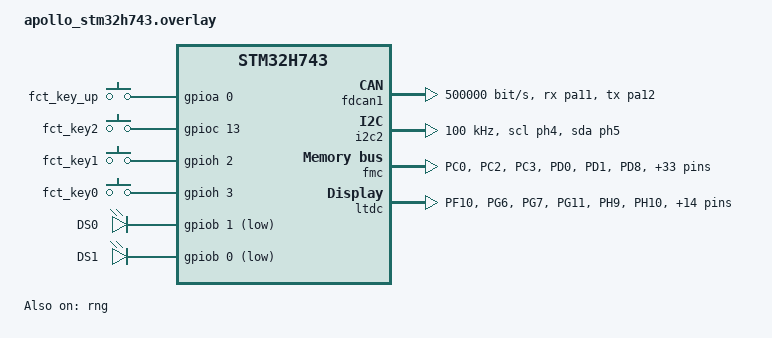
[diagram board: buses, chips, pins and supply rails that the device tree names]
#include <zephyr/dt-bindings/display/panel.h>
#include <zephyr/dt-bindings/memory-attr/memory-attr-arm.h>
/* Apollo V1 wiring is defined by docs/hardware.md. */
/ {
    chosen {
        /delete-property/ zephyr,code-partition;
    };

    /* Input polarity is not assumed by the raw-level key test. */
    fct_keys {
        compatible = "gpio-keys";
        fct_key_up: key_up { gpios = <&gpioa 0 GPIO_ACTIVE_HIGH>; };
        fct_key2: key2 { gpios = <&gpioc 13 GPIO_ACTIVE_HIGH>; };
        fct_key1: key1 { gpios = <&gpioh 2 GPIO_ACTIVE_HIGH>; };
        fct_key0: key0 { gpios = <&gpioh 3 GPIO_ACTIVE_HIGH>; };
    };
};

&flash0 {
    /delete-node/ partitions;
};

&red_led {
    gpios = <&gpiob 1 GPIO_ACTIVE_LOW>;
    label = "DS0";
};

&green_led {
    gpios = <&gpiob 0 GPIO_ACTIVE_LOW>;
    label = "DS1";
};

/* SDRAM bank 1; the inherited node label is historical. */
&sdram2 {
    compatible = "zephyr,memory-region", "mmio-sram";
    zephyr,memory-region = "SDRAM1";
    zephyr,memory-attr = <DT_MEM_ARM_MPU_RAM>;
    status = "okay";
};

/* hardware.md: PA11 RX / PA12 TX, selected by P10 instead of USB. */
&fdcan1 {
    pinctrl-0 = <&fdcan1_rx_pa11 &fdcan1_tx_pa12>;
    pinctrl-names = "default";
    clocks = <&rcc STM32_CLOCK(APB1_2, 8)>,
             <&rcc STM32_SRC_HSE FDCAN_SEL(0)>;
    clk-divider = <1>;
    bitrate = <500000>;
    status = "okay";
};

/* Verified against stm32h743iitx-pinctrl.dtsi. */
&pinctrl {
    fct_i2c2_scl_ph4: fct_i2c2_scl_ph4 {
        pinmux = <STM32_PINMUX('H', 4, AF4)>;
        bias-pull-up;
        drive-open-drain;
    };
    fct_i2c2_sda_ph5: fct_i2c2_sda_ph5 {
        pinmux = <STM32_PINMUX('H', 5, AF4)>;
        bias-pull-up;
        drive-open-drain;
    };
};

&i2c2 {
    pinctrl-0 = <&fct_i2c2_scl_ph4 &fct_i2c2_sda_ph5>;
    pinctrl-names = "default";
    clock-frequency = <100000>;
    status = "okay";
};

/* Internal RNG for lwIP random numbers; no additional board pins are used. */
&clk_hsi48 {
    status = "okay";
};

&rng {
    status = "okay";
};

&pinctrl {
    apollo_lcd_0: apollo_lcd_0 { pinmux = <STM32_PINMUX('F', 10, AF14)>; slew-rate = "very-high-speed"; };
    apollo_lcd_1: apollo_lcd_1 { pinmux = <STM32_PINMUX('G', 6, AF14)>; slew-rate = "very-high-speed"; };
    apollo_lcd_2: apollo_lcd_2 { pinmux = <STM32_PINMUX('G', 7, AF14)>; slew-rate = "very-high-speed"; };
    apollo_lcd_3: apollo_lcd_3 { pinmux = <STM32_PINMUX('G', 11, AF14)>; slew-rate = "very-high-speed"; };
    apollo_lcd_4: apollo_lcd_4 { pinmux = <STM32_PINMUX('H', 9, AF14)>; slew-rate = "very-high-speed"; };
    apollo_lcd_5: apollo_lcd_5 { pinmux = <STM32_PINMUX('H', 10, AF14)>; slew-rate = "very-high-speed"; };
    apollo_lcd_6: apollo_lcd_6 { pinmux = <STM32_PINMUX('H', 11, AF14)>; slew-rate = "very-high-speed"; };
    apollo_lcd_7: apollo_lcd_7 { pinmux = <STM32_PINMUX('H', 12, AF14)>; slew-rate = "very-high-speed"; };
    apollo_lcd_8: apollo_lcd_8 { pinmux = <STM32_PINMUX('H', 13, AF14)>; slew-rate = "very-high-speed"; };
    apollo_lcd_9: apollo_lcd_9 { pinmux = <STM32_PINMUX('H', 14, AF14)>; slew-rate = "very-high-speed"; };
    apollo_lcd_10: apollo_lcd_10 { pinmux = <STM32_PINMUX('H', 15, AF14)>; slew-rate = "very-high-speed"; };
    apollo_lcd_11: apollo_lcd_11 { pinmux = <STM32_PINMUX('I', 0, AF14)>; slew-rate = "very-high-speed"; };
    apollo_lcd_12: apollo_lcd_12 { pinmux = <STM32_PINMUX('I', 1, AF14)>; slew-rate = "very-high-speed"; };
    apollo_lcd_13: apollo_lcd_13 { pinmux = <STM32_PINMUX('I', 2, AF14)>; slew-rate = "very-high-speed"; };
    apollo_lcd_14: apollo_lcd_14 { pinmux = <STM32_PINMUX('I', 4, AF14)>; slew-rate = "very-high-speed"; };
    apollo_lcd_15: apollo_lcd_15 { pinmux = <STM32_PINMUX('I', 5, AF14)>; slew-rate = "very-high-speed"; };
    apollo_lcd_16: apollo_lcd_16 { pinmux = <STM32_PINMUX('I', 6, AF14)>; slew-rate = "very-high-speed"; };
    apollo_lcd_17: apollo_lcd_17 { pinmux = <STM32_PINMUX('I', 7, AF14)>; slew-rate = "very-high-speed"; };
    apollo_lcd_18: apollo_lcd_18 { pinmux = <STM32_PINMUX('I', 9, AF14)>; slew-rate = "very-high-speed"; };
    apollo_lcd_19: apollo_lcd_19 { pinmux = <STM32_PINMUX('I', 10, AF14)>; slew-rate = "very-high-speed"; };
};

&pinctrl {
    apollo_sdram_0: apollo_sdram_0 { pinmux = <STM32_PINMUX('C', 0, AF12)>; slew-rate = "very-high-speed"; };
    apollo_sdram_1: apollo_sdram_1 { pinmux = <STM32_PINMUX('C', 2, AF12)>; slew-rate = "very-high-speed"; };
    apollo_sdram_2: apollo_sdram_2 { pinmux = <STM32_PINMUX('C', 3, AF12)>; slew-rate = "very-high-speed"; };
    apollo_sdram_3: apollo_sdram_3 { pinmux = <STM32_PINMUX('D', 0, AF12)>; slew-rate = "very-high-speed"; };
    apollo_sdram_4: apollo_sdram_4 { pinmux = <STM32_PINMUX('D', 1, AF12)>; slew-rate = "very-high-speed"; };
    apollo_sdram_5: apollo_sdram_5 { pinmux = <STM32_PINMUX('D', 8, AF12)>; slew-rate = "very-high-speed"; };
    apollo_sdram_6: apollo_sdram_6 { pinmux = <STM32_PINMUX('D', 9, AF12)>; slew-rate = "very-high-speed"; };
    apollo_sdram_7: apollo_sdram_7 { pinmux = <STM32_PINMUX('D', 10, AF12)>; slew-rate = "very-high-speed"; };
    apollo_sdram_8: apollo_sdram_8 { pinmux = <STM32_PINMUX('D', 14, AF12)>; slew-rate = "very-high-speed"; };
    apollo_sdram_9: apollo_sdram_9 { pinmux = <STM32_PINMUX('D', 15, AF12)>; slew-rate = "very-high-speed"; };
    apollo_sdram_10: apollo_sdram_10 { pinmux = <STM32_PINMUX('E', 0, AF12)>; slew-rate = "very-high-speed"; };
    apollo_sdram_11: apollo_sdram_11 { pinmux = <STM32_PINMUX('E', 1, AF12)>; slew-rate = "very-high-speed"; };
    apollo_sdram_12: apollo_sdram_12 { pinmux = <STM32_PINMUX('E', 7, AF12)>; slew-rate = "very-high-speed"; };
    apollo_sdram_13: apollo_sdram_13 { pinmux = <STM32_PINMUX('E', 8, AF12)>; slew-rate = "very-high-speed"; };
    apollo_sdram_14: apollo_sdram_14 { pinmux = <STM32_PINMUX('E', 9, AF12)>; slew-rate = "very-high-speed"; };
    apollo_sdram_15: apollo_sdram_15 { pinmux = <STM32_PINMUX('E', 10, AF12)>; slew-rate = "very-high-speed"; };
    apollo_sdram_16: apollo_sdram_16 { pinmux = <STM32_PINMUX('E', 11, AF12)>; slew-rate = "very-high-speed"; };
    apollo_sdram_17: apollo_sdram_17 { pinmux = <STM32_PINMUX('E', 12, AF12)>; slew-rate = "very-high-speed"; };
    apollo_sdram_18: apollo_sdram_18 { pinmux = <STM32_PINMUX('E', 13, AF12)>; slew-rate = "very-high-speed"; };
    apollo_sdram_19: apollo_sdram_19 { pinmux = <STM32_PINMUX('E', 14, AF12)>; slew-rate = "very-high-speed"; };
    apollo_sdram_20: apollo_sdram_20 { pinmux = <STM32_PINMUX('E', 15, AF12)>; slew-rate = "very-high-speed"; };
    apollo_sdram_21: apollo_sdram_21 { pinmux = <STM32_PINMUX('F', 0, AF12)>; slew-rate = "very-high-speed"; };
    apollo_sdram_22: apollo_sdram_22 { pinmux = <STM32_PINMUX('F', 1, AF12)>; slew-rate = "very-high-speed"; };
    apollo_sdram_23: apollo_sdram_23 { pinmux = <STM32_PINMUX('F', 2, AF12)>; slew-rate = "very-high-speed"; };
    apollo_sdram_24: apollo_sdram_24 { pinmux = <STM32_PINMUX('F', 3, AF12)>; slew-rate = "very-high-speed"; };
    apollo_sdram_25: apollo_sdram_25 { pinmux = <STM32_PINMUX('F', 4, AF12)>; slew-rate = "very-high-speed"; };
    apollo_sdram_26: apollo_sdram_26 { pinmux = <STM32_PINMUX('F', 5, AF12)>; slew-rate = "very-high-speed"; };
    apollo_sdram_27: apollo_sdram_27 { pinmux = <STM32_PINMUX('F', 11, AF12)>; slew-rate = "very-high-speed"; };
    apollo_sdram_28: apollo_sdram_28 { pinmux = <STM32_PINMUX('F', 12, AF12)>; slew-rate = "very-high-speed"; };
    apollo_sdram_29: apollo_sdram_29 { pinmux = <STM32_PINMUX('F', 13, AF12)>; slew-rate = "very-high-speed"; };
    apollo_sdram_30: apollo_sdram_30 { pinmux = <STM32_PINMUX('F', 14, AF12)>; slew-rate = "very-high-speed"; };
    apollo_sdram_31: apollo_sdram_31 { pinmux = <STM32_PINMUX('F', 15, AF12)>; slew-rate = "very-high-speed"; };
    apollo_sdram_32: apollo_sdram_32 { pinmux = <STM32_PINMUX('G', 0, AF12)>; slew-rate = "very-high-speed"; };
    apollo_sdram_33: apollo_sdram_33 { pinmux = <STM32_PINMUX('G', 1, AF12)>; slew-rate = "very-high-speed"; };
    apollo_sdram_34: apollo_sdram_34 { pinmux = <STM32_PINMUX('G', 2, AF12)>; slew-rate = "very-high-speed"; };
    apollo_sdram_35: apollo_sdram_35 { pinmux = <STM32_PINMUX('G', 4, AF12)>; slew-rate = "very-high-speed"; };
    apollo_sdram_36: apollo_sdram_36 { pinmux = <STM32_PINMUX('G', 5, AF12)>; slew-rate = "very-high-speed"; };
    apollo_sdram_37: apollo_sdram_37 { pinmux = <STM32_PINMUX('G', 8, AF12)>; slew-rate = "very-high-speed"; };
    apollo_sdram_38: apollo_sdram_38 { pinmux = <STM32_PINMUX('G', 15, AF12)>; slew-rate = "very-high-speed"; };
};

/* HSE 25MHz / 5 * 80 = 400MHz VCO. FMC kernel=200MHz; SDCLK=100MHz. */
&pll2 {
    clocks = <&clk_hse>;
    div-m = <5>; mul-n = <80>; div-p = <2>; div-q = <2>; div-r = <2>;
    status = "okay";
};
&pll3 {
    clocks = <&clk_hse>;
    div-m = <5>; mul-n = <80>; div-p = <2>; div-q = <2>; div-r = <10>;
    status = "okay";
};
&fmc {
    status = "okay";
    pinctrl-0 = <&apollo_sdram_0 &apollo_sdram_1 &apollo_sdram_2 &apollo_sdram_3 &apollo_sdram_4 &apollo_sdram_5 &apollo_sdram_6 &apollo_sdram_7 &apollo_sdram_8 &apollo_sdram_9 &apollo_sdram_10 &apollo_sdram_11 &apollo_sdram_12 &apollo_sdram_13 &apollo_sdram_14 &apollo_sdram_15 &apollo_sdram_16 &apollo_sdram_17 &apollo_sdram_18 &apollo_sdram_19 &apollo_sdram_20 &apollo_sdram_21 &apollo_sdram_22 &apollo_sdram_23 &apollo_sdram_24 &apollo_sdram_25 &apollo_sdram_26 &apollo_sdram_27 &apollo_sdram_28 &apollo_sdram_29 &apollo_sdram_30 &apollo_sdram_31 &apollo_sdram_32 &apollo_sdram_33 &apollo_sdram_34 &apollo_sdram_35 &apollo_sdram_36 &apollo_sdram_37 &apollo_sdram_38>;
    pinctrl-names = "default";
    clocks = <&rcc STM32_CLOCK(AHB3, 12)>, <&rcc STM32_SRC_PLL2_R FMC_SEL(2)>;
};
&sdram {
    status = "okay";
    power-up-delay = <500>;
    num-auto-refresh = <8>;
    mode-register = <0x220>;
    /* Conservative vendor count (shorter than 64ms/8192 at 100MHz). */
    refresh-rate = <677>;
    bank@0 {
        reg = <0>;
        st,sdram-control = <STM32_FMC_SDRAM_NC_9 STM32_FMC_SDRAM_NR_13
            STM32_FMC_SDRAM_MWID_16 STM32_FMC_SDRAM_NB_4 STM32_FMC_SDRAM_CAS_2
            STM32_FMC_SDRAM_SDCLK_PERIOD_2 STM32_FMC_SDRAM_RBURST_ENABLE
            STM32_FMC_SDRAM_RPIPE_0>;
        st,sdram-timing = <2 8 6 6 2 2 2>;
    };
};
&ltdc {
    status = "okay";
    pinctrl-0 = <&apollo_lcd_0 &apollo_lcd_1 &apollo_lcd_2 &apollo_lcd_3 &apollo_lcd_4 &apollo_lcd_5 &apollo_lcd_6 &apollo_lcd_7 &apollo_lcd_8 &apollo_lcd_9 &apollo_lcd_10 &apollo_lcd_11 &apollo_lcd_12 &apollo_lcd_13 &apollo_lcd_14 &apollo_lcd_15 &apollo_lcd_16 &apollo_lcd_17 &apollo_lcd_18 &apollo_lcd_19>;
    pinctrl-names = "default";
    clocks = <&rcc STM32_CLOCK(APB3, 3)>, <&rcc STM32_SRC_PLL3_R NO_SEL>;
    ext-sdram = <&sdram2>;
    bl-ctrl-gpios = <&gpiob 5 GPIO_ACTIVE_HIGH>;
    width = <1024>;
    height = <600>;
    /* LTDC output bus API requires RGB888; only R3:7/G2:7/B3:7 are wired. */
    pixel-format = <PANEL_PIXEL_FORMAT_RGB_888>;
    display-timings {
        compatible = "zephyr,panel-timing";
        hsync-len = <20>; hback-porch = <140>; hfront-porch = <160>;
        vsync-len = <3>; vback-porch = <20>; vfront-porch = <12>;
        hsync-active = <0>; vsync-active = <0>; de-active = <0>; pixelclk-active = <0>;
    };
};
